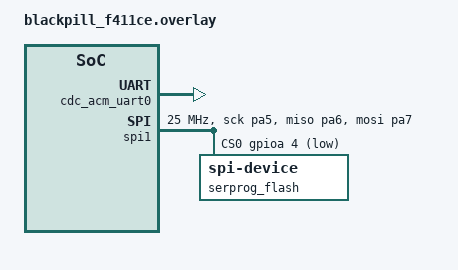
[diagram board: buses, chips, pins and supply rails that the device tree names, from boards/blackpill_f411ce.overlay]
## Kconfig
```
# Copyright (c) 2026 Mikhail Anikin
#
# SPDX-License-Identifier: Apache-2.0
#

source "Kconfig.zephyr"

config SERPROG_BUF_SIZE
    int "Buffer size"
    default 2048
    help
      Size of the buffer in bytes.
```

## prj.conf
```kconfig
CONFIG_STDOUT_CONSOLE=y
CONFIG_USB_DEVICE_STACK=y
CONFIG_USB_DEVICE_PRODUCT="Zephyr serprog flashrom programmer"
CONFIG_USB_DEVICE_PID=0x0001
CONFIG_LOG=y
CONFIG_USB_DRIVER_LOG_LEVEL_ERR=y
CONFIG_USB_DEVICE_LOG_LEVEL_ERR=y
CONFIG_SERIAL=y
CONFIG_UART_INTERRUPT_DRIVEN=y
CONFIG_UART_LINE_CTRL=y
CONFIG_USB_DEVICE_INITIALIZE_AT_BOOT=n
CONFIG_SPI=y
CONFIG_DEBUG=y
CONFIG_DEBUG_OPTIMIZATIONS=y
CONFIG_DEBUG_THREAD_INFO=y
```

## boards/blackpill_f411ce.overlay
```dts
/*
 * Copyright (c) 2026 Mikhail Anikin
 *
 * SPDX-License-Identifier: Apache-2.0
 */

/ {
	aliases {
        serprog-spi = &spi1;
    };
};

&zephyr_udc0 {
	cdc_acm_uart0 {
		compatible = "zephyr,cdc-acm-uart";
		label = "Zephyr USB CDC-ACM";
	};
};

&spi1 {
	pinctrl-0 = <&spi1_sck_pa5 &spi1_miso_pa6 &spi1_mosi_pa7>;
	cs-gpios = <&gpioa 4 GPIO_ACTIVE_LOW>;
	pinctrl-names = "default";
	clock-frequency = <25000000>;
	status = "okay"; 
	serprog_flash: serprog-flash@0 {
        compatible = "zephyr,spi-device";
        reg = <0>;
    };
};
```

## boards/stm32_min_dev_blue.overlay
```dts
/*
 * Copyright (c) 2026 Mikhail Anikin
 *
 * SPDX-License-Identifier: Apache-2.0
 */

/ {
	aliases {
        serprog-spi = &spi1;
    };
};

&zephyr_udc0 {
	cdc_acm_uart0 {
		compatible = "zephyr,cdc-acm-uart";
		label = "Zephyr USB CDC-ACM";
	};
};

&spi1 {
	pinctrl-0 = <&spi1_sck_master_pa5 &spi1_miso_master_pa6 &spi1_mosi_master_pa7>;
	cs-gpios = <&gpioa 4 GPIO_ACTIVE_LOW>;
	pinctrl-names = "default";
	clock-frequency = <25000000>;
	status = "okay"; 
	serprog_flash: serprog-flash@0 {
        compatible = "zephyr,spi-device";
        reg = <0>;
    };
};
```

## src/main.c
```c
/*
 * Copyright (c) 2026 Mikhail Anikin
 *
 * SPDX-License-Identifier: Apache-2.0
 */

#include <sample_usbd.h>

#include <stdio.h>
#include <string.h>

#include <zephyr/logging/log.h>

#include "serprog.h"
#include "spi.h"
#include "uart.h"

LOG_MODULE_REGISTER(main, LOG_LEVEL_INF);

#define RX_MSGQ_LEN 1024
K_MSGQ_DEFINE(rx_msgq, sizeof(uint8_t), RX_MSGQ_LEN, 4);

static void worker_thread(void *p1, void *p2, void *p3)
{
	ARG_UNUSED(p1);
	ARG_UNUSED(p2);
	ARG_UNUSED(p3);

	uint8_t c;

	while (1)
	{
		k_msgq_get(&rx_msgq, &c, K_FOREVER);
		process_sp_char(c);
	}
}

K_THREAD_DEFINE(cdc_worker_tid,
				1024,
				worker_thread,
				NULL, NULL, NULL,
				5,
				0,
				0);

int main(void)
{
	int ret;

	ret = spi_init();
	if (ret)
	{
		LOG_ERR("Failed to enable SPI, ret=%d", ret);
		return ret;
	}

	ret = uart_init_dev();
	if (ret != 0)
	{
		LOG_ERR("Failed to init uart cdc, ret %d", ret);
		return 0;
	}
	return 0;
}
```

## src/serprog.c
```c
/*
 * Copyright (c) 2026 Mikhail Anikin
 *
 * SPDX-License-Identifier: Apache-2.0
 */

#include "serprog.h"
#include <stdint.h>
#include <string.h>
#include <zephyr/kernel.h>
#include <zephyr/sys/util.h>
#include <zephyr/logging/log.h>
#include "spi.h"
#include "uart.h"

LOG_MODULE_REGISTER(serprog, LOG_LEVEL_INF);

#define BUSTYPE_SPI_ONLY 0b1000
#define BUF_SIZE CONFIG_SERPROG_BUF_SIZE
#define SP_DATA_TIMEOUT_MS 300

enum serprog_cmd_state
{
    SP_WAIT_CMD,
    SP_WAIT_DATA
};

struct spiop_header
{
    uint32_t slen;
    uint32_t rlen;
};

int state = SP_WAIT_CMD;
int cmd_in_process = 0;
int byte_counter = 0;
uint32_t last_rx_ms;

uint8_t prog_name[16] = "zephyr-serprog";

uint8_t byte_buf[BUF_SIZE];

static inline uint32_t u24_le(const uint8_t *p)
{
    return (uint32_t)p[0] | ((uint32_t)p[1] << 8) | ((uint32_t)p[2] << 16);
}

static inline uint32_t u32_le(const uint8_t *p)
{
    return (uint32_t)p[0] | ((uint32_t)p[1] << 8) | ((uint32_t)p[2] << 16) | ((uint32_t)p[3] << 24);
}

void sp_reset_state(void)
{
    state = SP_WAIT_CMD;
    byte_counter = 0;
}

static inline void sp_mark_rx(void)
{
    last_rx_ms = k_uptime_get_32();
}

static inline void sp_check_timeout(void)
{
    if (state != SP_WAIT_DATA)
    {
        return;
    }
    uint32_t now = k_uptime_get_32();
    if ((uint32_t)(now - last_rx_ms) > SP_DATA_TIMEOUT_MS)
    {
        LOG_WRN("serprog: timeout in cmd 0x%02x, dropping partial", cmd_in_process);
        sp_reset_state();
    }
}

void supported_commands(uint8_t *buff)
{
    memset(buff, 0, 32);
    uint8_t commands[] = {
        S_CMD_NOP,
        S_CMD_Q_IFACE,
        S_CMD_Q_CMDMAP,
        S_CMD_Q_PGMNAME,
        S_CMD_SYNCNOP,
        S_CMD_Q_SERBUF,
        S_CMD_Q_OPBUF,
        S_CMD_Q_WRNMAXLEN,
        S_CMD_Q_RDNMAXLEN,
        S_CMD_Q_BUSTYPE,
        S_CMD_S_BUSTYPE,
        S_CMD_O_SPIOP,
        S_CMD_S_SPI_FREQ,
    };
    for (int i = 0; i < ARRAY_SIZE(commands); i++)
    {
        uint8_t cmd = commands[i];
        buff[cmd >> 3] |= (uint8_t)(1u << (cmd & 7));
    }
}

void process_sp_command(uint8_t cmd)
{
    uint32_t ret_len = 1; // at least one byte (ACK/NACK)
    byte_buf[0] = S_ACK;
    cmd_in_process = cmd;
    byte_counter = 0;
    LOG_DBG("CMD 0x%x", cmd);
    switch (cmd)
    {
    case S_CMD_NOP:
        break;

    case S_CMD_Q_IFACE:
        byte_buf[1] = 1;
        byte_buf[2] = 0;
        ret_len = 3;
        break;
    case S_CMD_Q_CMDMAP:
        supported_commands(byte_buf + 1);
        ret_len = 33;
        break;
    case S_CMD_Q_PGMNAME:
        memcpy(byte_buf + 1, prog_name, sizeof(prog_name));
        ret_len = 17;
        break;
    case S_CMD_SYNCNOP:
        byte_buf[0] = S_NAK;
        byte_buf[1] = S_ACK;
        ret_len = 2;
        break;
    case S_CMD_Q_SERBUF:
    case S_CMD_Q_OPBUF:
        byte_buf[1] = (uint8_t)(BUF_SIZE & 0xFF);
        byte_buf[2] = (uint8_t)((BUF_SIZE >> 8) & 0xFF);
        ret_len = 3;
        break;
    case S_CMD_Q_WRNMAXLEN:
    case S_CMD_Q_RDNMAXLEN:
        byte_buf[1] = (uint8_t)(BUF_SIZE & 0xFF);
        byte_buf[2] = (uint8_t)((BUF_SIZE >> 8) & 0xFF);
        byte_buf[3] = 0;
        ret_len = 4;
        break;
    case S_CMD_Q_BUSTYPE:
        byte_buf[1] = BUSTYPE_SPI_ONLY;
        ret_len = 2;
        break;
    case S_CMD_S_BUSTYPE:
    case S_CMD_O_SPIOP:
    case S_CMD_S_SPI_FREQ:
        ret_len = 0;
        state = SP_WAIT_DATA;
        sp_mark_rx();
        break;

    default:
        byte_buf[0] = S_NAK;
        break;
    }
    if (ret_len > 0)
    {
        uart_send_buf(byte_buf, ret_len);
    }
}

void process_sp_spiop(uint8_t c)
{
    static struct spiop_header spiop_params;
    if (byte_counter <= 5)
    {
        byte_buf[byte_counter] = c;
        if (byte_counter == 5)
        {
            spiop_params.slen = u24_le(&byte_buf[0]);
            spiop_params.rlen = u24_le(&byte_buf[3]);
            LOG_HEXDUMP_DBG(byte_buf, 6, "PARAMS:");
            LOG_DBG("%s: parsed spiop params: slen: %d, rlen: %d", __func__, spiop_params.slen, spiop_params.rlen);
        }
        goto exit;
    }
    int send_counter = byte_counter - 6;
    if (send_counter < spiop_params.slen)
    {
        byte_buf[send_counter] = c;
        if (send_counter != (spiop_params.slen - 1))
            goto exit;
    }
    LOG_DBG("%s: Sending %d bytes", __func__, spiop_params.slen);
    LOG_HEXDUMP_DBG(byte_buf, spiop_params.slen, "TX:");
    int ret = spiop_transfer(byte_buf, spiop_params.slen, spiop_params.rlen);
    if (ret < 0)
    {
        LOG_ERR("%s: Failed to make SPI write, ret %d", __func__, ret);
        uart_send_char(S_NAK);
    }
    else
    {
        LOG_HEXDUMP_DBG(byte_buf, spiop_params.rlen, "RX:");
        uart_send_char(S_ACK);
        uart_send_buf(byte_buf, spiop_params.rlen);
    }
    sp_reset_state();
    return;
exit:
    byte_counter++;
    if (byte_counter > BUF_SIZE) {
        uart_send_char(S_NAK);
        sp_reset_state();
    }
    return;
}

void process_sp_set_spi_freq(uint8_t c)
{
    uint8_t ret = 0;
    if (byte_counter < 3)
    {
        byte_buf[byte_counter] = c;
        goto exit;
    }
    byte_buf[byte_counter] = c;
    uint32_t freq_hz = u32_le(&byte_buf[0]);
    if (freq_hz == 0)
    {
        uart_send_char(S_NAK);
        return;
    }
    LOG_INF("Setting SPI freq to %ul", freq_hz);
    ret = spiop_set_freq(freq_hz);
    if (ret < 0)
    {
        uart_send_char(S_NAK);
        return;
    }
    uart_send_char(S_ACK);
    uart_send_buf(byte_buf, 4);
    sp_reset_state();
exit:
    byte_counter++;
    if (byte_counter > BUF_SIZE) {
        uart_send_char(S_NAK);
        sp_reset_state();
    }
    return;
}

void process_sp_set_bustype(uint8_t c)
{
    uint8_t ret = S_NAK;
    if (c == BUSTYPE_SPI_ONLY)
    {
        ret = S_ACK;
    }
    uart_send_char(ret);
    state = SP_WAIT_CMD;
}

void process_sp_data(uint8_t c)
{
    switch (cmd_in_process)
    {
    case S_CMD_S_BUSTYPE:
        process_sp_set_bustype(c);
        break;
    case S_CMD_O_SPIOP:
        process_sp_spiop(c);
        break;
    case S_CMD_S_SPI_FREQ:
        process_sp_set_spi_freq(c);
        break;

    default:
        break;
    }
}

void process_sp_char(uint8_t c)
{
    sp_check_timeout();
    switch (state)
    {
    case SP_WAIT_CMD:
        process_sp_command(c);
        break;
    case SP_WAIT_DATA:
        sp_mark_rx();
        process_sp_data(c);
        break;
    default:
        sp_reset_state();
        break;
    }
}
```

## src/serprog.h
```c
/*
 * Copyright (c) 2026 Mikhail Anikin
 *
 * SPDX-License-Identifier: Apache-2.0
 */

#ifndef _SERPROG_H_
#define _SERPROG_H_

#include <stdint.h>
#include <zephyr/device.h>
#include <zephyr/drivers/uart.h>

/* According to Serial Flasher Protocol Specification - version 1 */
#define S_ACK 0x06
#define S_NAK 0x15
#define S_CMD_NOP		0x00	/* No operation					*/
#define S_CMD_Q_IFACE		0x01	/* Query interface version			*/
#define S_CMD_Q_CMDMAP		0x02	/* Query supported commands bitmap		*/
#define S_CMD_Q_PGMNAME		0x03	/* Query programmer name			*/
#define S_CMD_Q_SERBUF		0x04	/* Query Serial Buffer Size			*/
#define S_CMD_Q_BUSTYPE		0x05	/* Query supported bustypes			*/
#define S_CMD_Q_CHIPSIZE	0x06	/* Query supported chipsize (2^n format)	*/
#define S_CMD_Q_OPBUF		0x07	/* Query operation buffer size			*/
#define S_CMD_Q_WRNMAXLEN	0x08	/* Query Write to opbuf: Write-N maximum length */
#define S_CMD_R_BYTE		0x09	/* Read a single byte				*/
#define S_CMD_R_NBYTES		0x0A	/* Read n bytes					*/
#define S_CMD_O_INIT		0x0B	/* Initialize operation buffer			*/
#define S_CMD_O_WRITEB		0x0C	/* Write opbuf: Write byte with address		*/
#define S_CMD_O_WRITEN		0x0D	/* Write to opbuf: Write-N			*/
#define S_CMD_O_DELAY		0x0E	/* Write opbuf: udelay				*/
#define S_CMD_O_EXEC		0x0F	/* Execute operation buffer			*/
#define S_CMD_SYNCNOP		0x10	/* Special no-operation that returns NAK+ACK	*/
#define S_CMD_Q_RDNMAXLEN	0x11	/* Query read-n maximum length			*/
#define S_CMD_S_BUSTYPE		0x12	/* Set used bustype(s).				*/
#define S_CMD_O_SPIOP		0x13	/* Perform SPI operation.			*/
#define S_CMD_S_SPI_FREQ	0x14	/* Set SPI clock frequency			*/
#define S_CMD_S_PIN_STATE	0x15	/* Enable/disable output drivers		*/ 

void process_sp_char(uint8_t cmd);

#endif // _SERPROG_H_
```

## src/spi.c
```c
/*
 * Copyright (c) 2026 Mikhail Anikin
 *
 * SPDX-License-Identifier: Apache-2.0
 */

#include <zephyr/device.h>
#include <zephyr/drivers/gpio.h>
#include <zephyr/drivers/spi.h>
#include <stdio.h>
#include <string.h>
#include "spi.h"

#include <zephyr/logging/log.h>

LOG_MODULE_REGISTER(spi, LOG_LEVEL_INF);

#define SERPROG_SPI_NODE DT_ALIAS(serprog_spi)

struct spi_config spi_cfg = {
    .frequency = DT_PROP(SERPROG_SPI_NODE, clock_frequency),
    .operation = SPI_OP_MODE_MASTER | SPI_TRANSFER_MSB | SPI_WORD_SET(8),
    .cs = SPI_CS_CONTROL_INIT(DT_NODELABEL(serprog_flash), 1),
};


const struct device *spi;

int spiop_transfer(uint8_t *buf, size_t slen, size_t rlen)
{
    int ret;
    struct spi_config cfg_hold = spi_cfg;
    cfg_hold.operation |= SPI_HOLD_ON_CS;

    if (slen == 0 && rlen == 0)
    {
        return -1;
    }

    if (slen != 0)
    {
        struct spi_buf txb = {.buf = buf, .len = slen};
        struct spi_buf_set txs = {.buffers = &txb, .count = 1};
        ret = spi_write(spi, &cfg_hold, &txs);
        if (ret)
            goto exit;
    }
    if (rlen != 0)
    {
        struct spi_buf rxb = {.buf = buf, .len = rlen};
        struct spi_buf_set rxs = {.buffers = &rxb, .count = 1};
        ret = spi_read(spi, &cfg_hold, &rxs);
    }
exit:
    spi_release(spi, &cfg_hold);
    return ret;
}

int spi_init(void)
{
    spi = device_get_binding(DEVICE_DT_NAME(DT_NODELABEL(spi1)));
    if (!device_is_ready(spi))
    {
        LOG_ERR("Device SPI not ready, aborting");
        return -1;
    }
    return 0;
}

int spiop_set_freq(uint32_t freq)
{
    uint32_t max_freq = DT_PROP(DT_NODELABEL(spi1), clock_frequency);
    if (freq > max_freq)
        freq = max_freq;
    spi_cfg.frequency = freq;
    return 0;
}
```

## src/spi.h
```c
/*
 * Copyright (c) 2026 Mikhail Anikin
 *
 * SPDX-License-Identifier: Apache-2.0
 */

#ifndef _SPI_H_
#define _SPI_H_

#include <stdint.h>

int spi_init(void);
int spiop_transfer(uint8_t *buf, size_t slen, size_t rlen);
int spiop_set_freq(uint32_t freq);

#endif // _SPI_H_
```

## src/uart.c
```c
/*
 * Copyright (c) 2026 Mikhail Anikin
 *
 * SPDX-License-Identifier: Apache-2.0
 */
#include "uart.h"
#include <zephyr/drivers/uart.h>
#include <zephyr/device.h>
#include <zephyr/kernel.h>
#include <zephyr/sys/util.h>
#include <zephyr/sys/ring_buffer.h>
#include <zephyr/usb/usb_device.h>
#include <zephyr/usb/usbd.h>
#include <zephyr/logging/log.h>

LOG_MODULE_REGISTER(uart_cdc, LOG_LEVEL_INF);

const struct device *const uart_dev = DEVICE_DT_GET_ONE(zephyr_cdc_acm_uart);
extern struct k_msgq rx_msgq;

#define TX_RING_BUF_SIZE 1024
RING_BUF_DECLARE(tx_ringbuf, TX_RING_BUF_SIZE);

static struct k_sem tx_space_sem;
static bool tx_drain_ringbuf(const struct device *dev)
{
    uint8_t *data;
    uint32_t len = ring_buf_get_claim(&tx_ringbuf, &data, UINT32_MAX);

    if (len == 0)
    {
        return false;
    }

    int wrote = uart_fifo_fill(dev, data, len);

    if (wrote < 0)
    {
        wrote = 0;
    }

    ring_buf_get_finish(&tx_ringbuf, wrote);

    if (wrote > 0)
    {
        k_sem_give(&tx_space_sem);
    }

    return ring_buf_size_get(&tx_ringbuf) > 0;
}

static void interrupt_handler(const struct device *dev, void *user_data)
{
    ARG_UNUSED(user_data);

    while (uart_irq_update(dev) && uart_irq_is_pending(dev))
    {

        if (uart_irq_rx_ready(dev))
        {
            uint8_t buf[64];
            int r = uart_fifo_read(dev, buf, sizeof(buf));
            int dropped = 0;

            if (r < 0)
            {
                LOG_ERR("uart_fifo_read failed");
                r = 0;
            }
            for (int i = 0; i < r; i++)
            {
                if (k_msgq_put(&rx_msgq, &buf[i], K_NO_WAIT))
                {
                    dropped++;
                }
            }
            if (dropped)
            {
                LOG_WRN("RX queue full: dropped %d byte(s)",
                        dropped);
            }
        }

        if (uart_irq_tx_ready(dev))
        {
            if (!tx_drain_ringbuf(dev))
            {
                uart_irq_tx_disable(dev);
            }
        }
    }
}

int uart_send_buf(uint8_t *buf, size_t len)
{
    size_t sent = 0;

    while (sent < len)
    {
        uint32_t n = ring_buf_put(&tx_ringbuf,
                                  buf + sent,
                                  len - sent);
        sent += n;
        uart_irq_tx_enable(uart_dev);
        if (sent < len)
        {
            k_sem_take(&tx_space_sem, K_MSEC(10));
        }
    }

    return 0;
}

int uart_send_char(uint8_t c)
{
    return uart_send_buf(&c, 1);
}

static inline void print_baudrate(const struct device *dev)
{
    uint32_t baudrate;
    int ret = uart_line_ctrl_get(dev, UART_LINE_CTRL_BAUD_RATE, &baudrate);

    if (ret)
    {
        LOG_WRN("Failed to get baudrate, ret=%d", ret);
    }
    else
    {
        LOG_INF("Baudrate %u", baudrate);
    }
}

int uart_init_dev(void)
{
    int ret = 0;

    if (!device_is_ready(uart_dev))
    {
        LOG_ERR("CDC ACM device not ready");
        return -1;
    }

    ret = usb_enable(NULL);
    if (ret != 0)
    {
        LOG_ERR("Failed to enable USB");
        return ret;
    }

    LOG_INF("Wait for DTR");
    while (true)
    {
        uint32_t dtr = 0U;

        uart_line_ctrl_get(uart_dev, UART_LINE_CTRL_DTR, &dtr);
        if (dtr)
        {
            break;
        }
        k_sleep(K_MSEC(100));
    }
    LOG_INF("DTR set");

    ret = uart_line_ctrl_set(uart_dev, UART_LINE_CTRL_DCD, 1);
    if (ret)
    {
        LOG_WRN("Failed to set DCD, ret=%d", ret);
    }
    ret = uart_line_ctrl_set(uart_dev, UART_LINE_CTRL_DSR, 1);
    if (ret)
    {
        LOG_WRN("Failed to set DSR, ret=%d", ret);
    }

    k_msleep(100);
    print_baudrate(uart_dev);

    k_sem_init(&tx_space_sem, 0, 1);

    uart_irq_callback_set(uart_dev, interrupt_handler);
    uart_irq_rx_enable(uart_dev);

    return 0;
}
```

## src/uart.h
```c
/*
 * Copyright (c) 2026 Mikhail Anikin
 *
 * SPDX-License-Identifier: Apache-2.0
 */

#ifndef _UART_H_
#define _UART_H_
#include <stdint.h>
#include <zephyr/kernel.h>

int uart_send_char(uint8_t c);
int uart_send_buf(uint8_t *buf, size_t len);
int uart_init_dev(void);


#endif // _UART_H_
```
